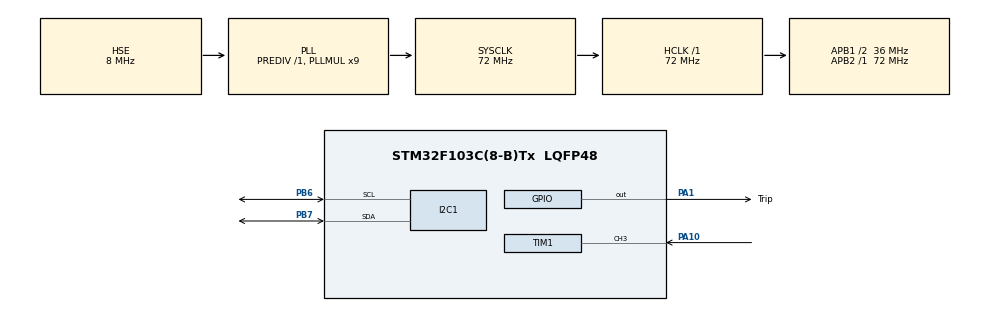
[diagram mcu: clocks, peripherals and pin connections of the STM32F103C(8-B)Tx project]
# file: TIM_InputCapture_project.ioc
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Mcu.Family=STM32F1
Mcu.Name=STM32F103C(8-B)Tx
Mcu.Package=LQFP48
NVIC.PriorityGroup=NVIC_PRIORITYGROUP_4
NVIC.TIM1_BRK_IRQn=true\:0\:0\:false\:false\:true\:true\:true\:true
NVIC.TIM1_CC_IRQn=true\:0\:0\:false\:false\:true\:true\:true\:true
NVIC.TIM1_TRG_COM_IRQn=true\:0\:0\:false\:false\:true\:true\:true\:true
NVIC.TIM1_UP_IRQn=true\:0\:0\:false\:false\:true\:true\:true\:true
PA1.GPIO_Label=Trip
PA1.Signal=GPIO_Output
PA10.GPIO_PuPd=GPIO_PULLUP
PA10.Signal=S_TIM1_CH3
PA13.Mode=Serial_Wire
PA13.Signal=SYS_JTMS-SWDIO
PA14.Mode=Serial_Wire
PA14.Signal=SYS_JTCK-SWCLK
PB6.Mode=I2C
PB6.Signal=I2C1_SCL
PB7.Mode=I2C
PB7.Signal=I2C1_SDA
PD0-OSC_IN.Mode=HSE-External-Oscillator
PD0-OSC_IN.Signal=RCC_OSC_IN
PD1-OSC_OUT.Mode=HSE-External-Oscillator
PD1-OSC_OUT.Signal=RCC_OSC_OUT
ProjectManager.HeapSize=0x200
ProjectManager.StackSize=0x400
ProjectManager.TargetToolchain=STM32CubeIDE
RCC.AHBFreq_Value=72000000
RCC.APB1CLKDivider=RCC_HCLK_DIV2
RCC.APB1Freq_Value=36000000
RCC.APB1TimFreq_Value=72000000
RCC.APB2Freq_Value=72000000
RCC.APB2TimFreq_Value=72000000
RCC.HCLKFreq_Value=72000000
RCC.PLLMUL=RCC_PLL_MUL9
RCC.PLLSourceVirtual=RCC_PLLSOURCE_HSE
RCC.SYSCLKFreq_VALUE=72000000
RCC.SYSCLKSource=RCC_SYSCLKSOURCE_PLLCLK
RCC.USBFreq_Value=72000000
SH.S_TIM1_CH3.0=TIM1_CH3,Input_Capture3_from_TI3
TIM1.Channel-Input_Capture3_from_TI3=TIM_CHANNEL_3
TIM1.Channel-Input_Capture4_from_TI3_63=TIM_CHANNEL_4
TIM1.ICPolarity_CH4=TIM_INPUTCHANNELPOLARITY_FALLING
TIM1.Prescaler=72-1
VP_TIM1_VS_ClockSourceINT.Mode=Internal
VP_TIM1_VS_indirect_ch3.Mode=Input_Capture4_from_TI3_63
board=custom

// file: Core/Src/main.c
/* USER CODE BEGIN Header */
/**
  ******************************************************************************
  * @file           : main.c
  * @brief          : Main program body
  ******************************************************************************
  * @attention
  *
  * Copyright (c) 2026 STMicroelectronics.
  * All rights reserved.
  *
  * This software is licensed under terms that can be found in the LICENSE file
  * in the root directory of this software component.
  * If no LICENSE file comes with this software, it is provided AS-IS.
  *
  ******************************************************************************
  */
/* USER CODE END Header */
#include "main.h"
#include "i2c.h"
#include "tim.h"
#include "gpio.h"

/* USER CODE BEGIN Includes */
  #include "oled.h"
  #include "stdio.h"
  #include "string.h"

/* USER CODE END Includes */

void SystemClock_Config(void);

/* USER CODE BEGIN 0 */

/* ===== 以下为【原代码】，已注释保留，方便你对照 ===== */
// int up = 0;                     // 【原】普通全局变量：上升沿捕获值（没加 volatile，中断里改它可能不更新）
// int down = 0;                   // 【原】普通全局变量：下降沿捕获值
// float distance = 0;             // 【原】普通全局变量：算出来的距离
//   void HAL_TIM_IC_CaptureCallback(TIM_HandleTypeDef *htim)   // 【原】输入捕获中断回调（旧版）
//   {
//     if((htim->Channel == HAL_TIM_ACTIVE_CHANNEL_4) && (htim == &htim1))//
//     {
//       up = HAL_TIM_ReadCapturedValue(&htim1, TIM_CHANNEL_3);    // 【原】读通道3捕获值
//       down = HAL_TIM_ReadCapturedValue(&htim1, TIM_CHANNEL_4);  // 【原】读通道4捕获值
//       distance = (down - up) * 0.034 / 2;                      // 【原】距离公式（你已改对符号）
//     }
//   }
/* ===== 原代码结束 ===== */

/* ===== 以下为【新代码】：按钮模拟回波，逐行注释 ===== */
volatile int up = 0;                  // 全局变量：松开时读到的计数值(=按住时长µs)；volatile 告诉编译器它会被中断改，别优化掉
volatile int down = 0;                // 全局变量：按下时读到的计数值（仅作记录/显示用）
volatile float distance = 0;          // 全局变量：由按住时长换算出的“模拟距离”
static uint32_t last_edge_ms = 0;     // 静态变量：上一次有效边沿的时间戳(ms)，用于软件消抖
static uint8_t pressed = 0;           // 静态变量：标志位，1=已经记录过“按下”、在等“松开”

// 输入捕获中断回调函数：定时器在 PA10 上抓到上升/下降沿时，硬件自动进这里
void HAL_TIM_IC_CaptureCallback(TIM_HandleTypeDef *htim)
{
  if (htim != &htim1) return;         // 只处理 TIM1 的捕获，别的定时器进来直接退出（防止误处理）

  uint32_t now = HAL_GetTick();       // 读取当前系统时间(ms)，HAL_GetTick() 是 HAL 提供的毫秒计数器
  if (now - last_edge_ms < 30) return;// 软件消抖：距上次有效边沿不足30ms的边沿(按钮抖动)直接忽略
  last_edge_ms = now;                 // 记录本次边沿时间，作为下一次消抖的基准

  if (htim->Channel == HAL_TIM_ACTIVE_CHANNEL_4)            // 通道4=下降沿（上拉时：按下按钮=变低=下降沿）
  {
    down = HAL_TIM_ReadCapturedValue(&htim1, TIM_CHANNEL_4); // 读下此刻计数器值（先存着，紧接着就清零）
    __HAL_TIM_SET_COUNTER(&htim1, 0);                       // 把计数器清零：让“按住时长”从 0 开始算
    pressed = 1;                                            // 打标记：已按下，等松开时再算距离
  }
  else if (htim->Channel == HAL_TIM_ACTIVE_CHANNEL_3)       // 通道3=上升沿（上拉时：松开按钮=变高=上升沿）
  {
    if (pressed)                                            // 只有确实经历过“按下”才处理，避免误触发
    {
      up = HAL_TIM_ReadCapturedValue(&htim1, TIM_CHANNEL_3);  // 读计数器=从按下到松开经过的 µs 数
      distance = up * 0.034f / 2.0f;                         // 换算成“距离”：声速0.034cm/µs，÷2是声波往返
      pressed = 0;                                           // 清标记，等待下一次按下
    }
  }
}
/* ===== 新代码结束 ===== */

/* USER CODE END 0 */

int main(void)
{

  /* MCU Configuration--------------------------------------------------------*/

  /* Reset of all peripherals, Initializes the Flash interface and the Systick. */
  HAL_Init();

  /* Configure the system clock */
  SystemClock_Config();

  /* Initialize all configured peripherals */
  MX_GPIO_Init();
  MX_I2C1_Init();
  MX_TIM1_Init();
  /* USER CODE BEGIN 2 */
  HAL_Delay(20);                     // 上电后延时20ms，等外设(oled/i2c)稳定
  SSD1306_Init();                    // 初始化OLED屏幕

  HAL_TIM_Base_Start(&htim1);        // 启动TIM1时基(计数器开始跑)，输入捕获依赖它

  char str[64] = "";                 // 显示用字符串缓冲区，64字节足够"juli:xx.xxcm up:x down:x"

  	  //根据手册启动模块，启动后会离开输出一个高电平，然后被定时器通道3捕获
  	  // HAL_Delay(1000);
      // HAL_GPIO_WritePin(Trip_GPIO_Port, Trip_Pin, GPIO_PIN_SET);
      // HAL_Delay(100);
      // HAL_GPIO_WritePin(Trip_GPIO_Port, Trip_Pin, GPIO_PIN_RESET);
      // HAL_Delay(1000);

      // if(HAL_GPIO_ReadPin(GPIOA,GPIO_PIN_10) == GPIO_PIN_SET)
      //{
        // HAL_Delay(20);
        // if(HAL_GPIO_ReadPin(GPIOA,GPIO_PIN_10) == GPIO_PIN_SET)
        //{
          // __HAL_TIM_SET_COUNTER(&htim1, 0);//启动模块后清零
        //}
     //}

      // if(__HAL_TIM_GET_COUNTER(&htim1) == 0)
      //{
    	  //启动定时器通道3，会在触发后记录数值到输入捕获寄存器，已经在mx中设置为上升沿触发
    	  // HAL_TIM_IC_Start(&htim1, TIM_CHANNEL_3);
    	  //启动定时器通道4，会在触发后记录数值到输入捕获寄存器，并在触发后触发中断，已经在mx中设置为下降沿触发
    	  // HAL_TIM_IC_Start_IT(&htim1, TIM_CHANNEL_4);
      //}

  /* —— 以下是【新代码】：直接启动两个通道的输入捕获中断（按下/松开都会进回调） —— */
  HAL_TIM_IC_Start_IT(&htim1, TIM_CHANNEL_3);   // 启动通道3输入捕获并开中断：抓“上升沿”(松开按钮)
  HAL_TIM_IC_Start_IT(&htim1, TIM_CHANNEL_4);   // 启动通道4输入捕获并开中断：抓“下降沿”(按下按钮)

  /* USER CODE END 2 */

  /* Infinite loop */
  /* USER CODE BEGIN WHILE */
  while (1)                                   // 主循环：反复刷新屏幕，显示最新测量结果
  {

      HAL_Delay(20);                         // 每轮延时20ms，控制刷新率(约50Hz)，也让CPU歇口气

      SSD1306_Clear();                       // 清屏：把显存清成全黑，准备画新内容
      // sprintf(str, "juli:%.2fcm,up:%d,down:%d", distance,up,down);  // 【原】无长度保护，可能溢出
      snprintf(str, sizeof(str), "juli:%.2fcm,up:%d,down:%d", distance,up,down); // 【新】限定最多写sizeof(str)字节，绝不会溢出
      SSD1306_SetCursor(0, 0);               // 设置文字起始坐标(第0列,第0行)
      SSD1306_WriteString(str);              // 把字符串写进显存
      SSD1306_UpdateScreen();                // 把显存推到OLED屏上，真正显示出来
    /* USER CODE END WHILE */

  }
}

void SystemClock_Config(void)
{
  RCC_OscInitTypeDef RCC_OscInitStruct = {0};
  RCC_ClkInitTypeDef RCC_ClkInitStruct = {0};

  /** Initializes the RCC Oscillators according to the specified parameters
  * in the RCC_OscInitTypeDef structure.
  */
  RCC_OscInitStruct.OscillatorType = RCC_OSCILLATORTYPE_HSE;
  RCC_OscInitStruct.HSEState = RCC_HSE_ON;
  RCC_OscInitStruct.HSEPredivValue = RCC_HSE_PREDIV_DIV1;
  RCC_OscInitStruct.HSIState = RCC_HSI_ON;
  RCC_OscInitStruct.PLL.PLLState = RCC_PLL_ON;
  RCC_OscInitStruct.PLL.PLLSource = RCC_PLLSOURCE_HSE;
  RCC_OscInitStruct.PLL.PLLMUL = RCC_PLL_MUL9;
  if (HAL_RCC_OscConfig(&RCC_OscInitStruct) != HAL_OK)
  {
    Error_Handler();
  }

  /** Initializes the CPU, AHB and APB buses clocks
  */
  RCC_ClkInitStruct.ClockType = RCC_CLOCKTYPE_HCLK|RCC_CLOCKTYPE_SYSCLK
                              |RCC_CLOCKTYPE_PCLK1|RCC_CLOCKTYPE_PCLK2;
  RCC_ClkInitStruct.SYSCLKSource = RCC_SYSCLKSOURCE_PLLCLK;
  RCC_ClkInitStruct.AHBCLKDivider = RCC_SYSCLK_DIV1;
  RCC_ClkInitStruct.APB1CLKDivider = RCC_HCLK_DIV2;
  RCC_ClkInitStruct.APB2CLKDivider = RCC_HCLK_DIV1;

  if (HAL_RCC_ClockConfig(&RCC_ClkInitStruct, FLASH_LATENCY_2) != HAL_OK)
  {
    Error_Handler();
  }
}

void Error_Handler(void)
{
  __disable_irq();
  while (1)
  {
  }
}
